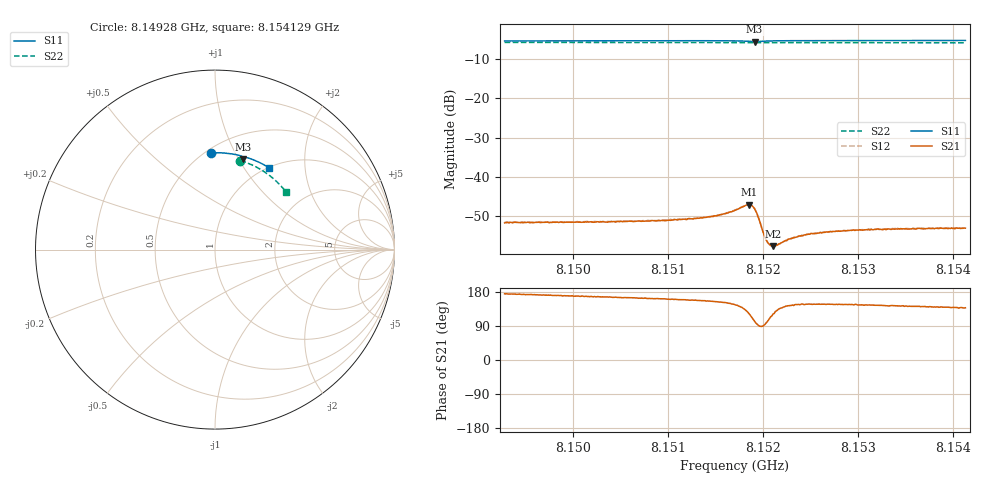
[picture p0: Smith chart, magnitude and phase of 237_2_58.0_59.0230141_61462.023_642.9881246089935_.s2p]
#  HZ  S  RI  R  50.00
! Rohde & Schwarz Vector Network Analyzer
! Rohde-Schwarz,ZNB20-2Port,1311601062101988,3.16
! Created: UTC 3/21/2024, 1:00:54 AM
! freq[Hz]  re:S11  im:S11  re:S21  im:S21  re:S12  im:S12  re:S22  im:S22
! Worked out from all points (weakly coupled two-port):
!   401 points, 8.14928 GHz to 8.154129 GHz, reference 50 ohm
!   highest |S21| = -47.08 dB at 8.15185 GHz (marker M1); lowest = -57.6 dB at 8.152105 GHz (marker M2)
!   lowest |S11| = -5.5 dB at 8.151911 GHz (marker M3), VSWR 3.24, Z = 37.3 + j52.2 ohm
!   |S11| at or under -10 dB: nowhere
!   |S22| runs from -5.9 to -5.7 dB; largest |S21 - S12| = 0.00013
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8.1492805e9  -0.0202 0.5384  -0.00259 0.000238  -0.00265 0.00031  0.141 0.4962
8.1500927e9  0.0366 0.539  -0.0026 0.000515  -0.0026 0.000589  0.1905 0.4784
8.1509049e9  0.0932 0.5333  -0.00265 0.000877  -0.00267 0.000939  0.2379 0.4557
8.1513777e9  0.1267 0.5268  -0.00281 0.00122  -0.00277 0.00126  0.2642 0.4403
8.1515716e9  0.1409 0.5228  -0.00295 0.00156  -0.00297 0.00163  0.2748 0.4334
8.151705e9  0.1512 0.5184  -0.00312 0.00212  -0.00311 0.00218  0.2818 0.4284
8.1518141e9  0.1587 0.511  -0.00291 0.0032  -0.00287 0.00326  0.2874 0.4244
8.1518505e9  0.1593 0.5076  -0.0024 0.00371  -0.00237 0.00381  0.2894 0.4229
8.1518868e9  0.1577 0.5048  -0.00151 0.004  -0.00149 0.00405  0.291 0.4215
8.1519111e9  0.156 0.5044  -0.000844 0.00385  -0.000802 0.00389  0.2921 0.4206
8.1519474e9  0.1543 0.5064  -0.000121 0.00311  -5.84e-05 0.00316  0.294 0.4195
8.152008e9  0.1568 0.5113  -4.88e-05 0.00189  2.65e-06 0.00192  0.297 0.4175
8.1520323e9  0.159 0.5124  -0.000219 0.00158  -0.000165 0.00159  0.2984 0.4164
8.1520687e9  0.1622 0.5132  -0.000465 0.00131  -0.000429 0.0013  0.3002 0.4153
8.152105e9  0.1656 0.5136  -0.000687 0.00113  -0.000681 0.00114  0.3023 0.4137
8.1521535e9  0.1698 0.5134  -0.000917 0.00101  -0.000911 0.00103  0.3047 0.4119
8.1522869e9  0.1805 0.5114  -0.00131 0.000976  -0.00129 0.000968  0.3115 0.4066
8.1523838e9  0.1876 0.5094  -0.00147 0.000992  -0.00148 0.000991  0.3164 0.4028
8.1525172e9  0.197 0.5064  -0.00158 0.00104  -0.00161 0.00107  0.3229 0.3974
8.1529294e9  0.2245 0.4958  -0.00175 0.00115  -0.00174 0.00117  0.3427 0.3797
8.1533294e9  0.25 0.4842  -0.00173 0.00132  -0.00176 0.00131  0.3606 0.3619
8.1541295e9  0.2985 0.4574  -0.00165 0.0015  -0.00164 0.00154  0.394 0.3234
